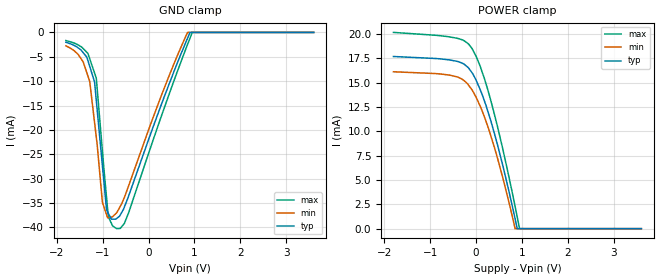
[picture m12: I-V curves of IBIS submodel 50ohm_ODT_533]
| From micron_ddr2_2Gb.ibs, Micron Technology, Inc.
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|   SUBMODEL 50ohm_ODT_533
[Submodel]  50ohm_ODT_533
Submodel_type   Dynamic_clamp
[GND CLAMP]
|   Voltage   I(typ)   I(min)   I(max)
-1.8V     -2.02mA    -2.767mA   -1.674mA
-1.345V   -5.078mA   -8.264mA   -4.082mA
-1.28V    -7.018mA   -10.22mA   -5.443mA
-1.175V   -10.25mA   -18.57mA   -8.383mA
-1.14V    -13.79mA   -21.36mA   -9.363mA
-1.005V   -27.4mA    -34.86mA   -24.38mA
-915mV    -36.36mA   -37.39mA   -33.87mA
-875mV    -37.15mA   -37.99mA   -37.84mA
-695mV    -38.17mA   -37mA      -40.26mA
-435mV    -33.56mA   -31.48mA   -37.01mA
903mV     0A         NA         NA
3.6V      0A         0A         0A
[POWER CLAMP]
|   Voltage   I(typ)   I(min)   I(max)
-1.8V     17.68mA    16.11mA    20.16mA
-580mV    17.33mA    15.77mA    19.7mA
-310mV    17.02mA    15.37mA    19.4mA
-190mV    16.62mA    14.9mA     19.07mA
-90mV     16.03mA    14.27mA    18.52mA
90mV      14.27mA    12.57mA    16.68mA
225mV     12.54mA    10.91mA    14.74mA
345mV     10.69mA    9.169mA    12.75mA
580mV     6.522mA    5.268mA    8.218mA
830mV     1.451mA    427.9uA    2.758mA
897mV     0A         NA         NA
3.6V      0A         0A         0A
